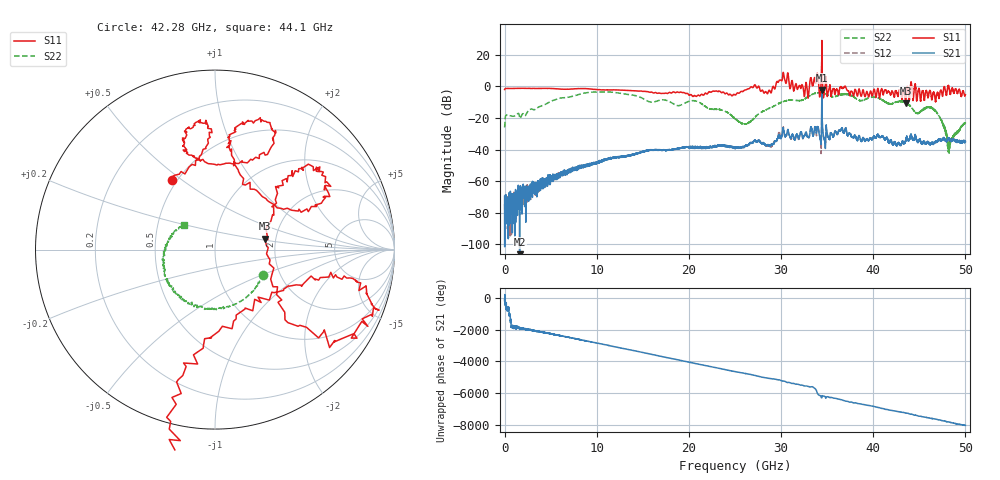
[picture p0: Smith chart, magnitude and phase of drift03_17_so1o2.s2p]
!Created with skrf (http://scikit-rf.org).
# Hz S RI R 50.0
!freq ReS11 ImS11 ReS21 ImS21 ReS12 ImS12 ReS22 ImS22
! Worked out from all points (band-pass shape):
!   10000 points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, 5.3 MHz to 50 GHz, reference 50 ohm
!   highest |S21| = -2.37 dB at 34.43 GHz (marker M1); lowest = -106.7 dB at 1.635 GHz (marker M2)
!   |S21| within 3 dB of the highest: 34.42768 GHz to 34.43464 GHz (6.963 MHz wide, 0.0202 % of centre)
!   lowest |S11| = -10.9 dB at 43.52 GHz (marker M3), VSWR 1.80, Z = 87.9 + j11.6 ohm
!   |S11| at or under -10 dB: 43.49706 GHz to 43.54069 GHz (43.63 MHz wide, 0.1 % of centre)
!   |S22| runs from -42.7 to -3.6 dB; largest |S21 - S12| = 0.26
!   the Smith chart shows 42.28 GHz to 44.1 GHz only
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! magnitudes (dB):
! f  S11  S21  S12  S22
! 5.3 MHz  -2.1  -69.6  -74.5  -26.1
! 260.3 MHz  -1.4  -78.3  -83.6  -18.3
! 1.635 GHz  -1.3  -106.7  -68.3  -19.6
! 8.34 GHz  -1.5  -50.9  -51.3  -4.7
! 16.67 GHz  -4.4  -40.4  -40.1  -9.1
! 20.74 GHz  -6.3  -38.5  -38.4  -9.3
! 25.01 GHz  -5.5  -38.9  -38.6  -20.6
! 26.27 GHz  -2.1  -37.4  -37.4  -23.7
! 28.72 GHz  -2.5  -37.6  -37.6  -14.0
! 30.14 GHz  4.4  -29.6  -29.6  -9.9
! 32.74 GHz  2.0  -29.5  -29.4  -7.4
! 33.34 GHz  2.5  -27.4  -27.8  -5.3
! 33.82 GHz  3.9  -29.1  -29.3  -4.2
! 34.43 GHz  28.9  -2.4  -4.8  -4.0
! 36.48 GHz  -0.3  -27.9  -27.9  -5.2
! 41.67 GHz  -3.2  -35.7  -35.6  -11.0
! 43.52 GHz  -10.9  -34.6  -34.7  -10.5
! 44.73 GHz  -9.2  -34.3  -34.3  -17.1
! 46.66 GHz  -5.5  -35.7  -35.6  -15.1
! 47.57 GHz  -5.2  -33.2  -33.4  -23.5
! 48.24 GHz  -1.5  -33.0  -33.4  -37.0
! 50 GHz  -5.3  -35.1  -35.3  -23.4
